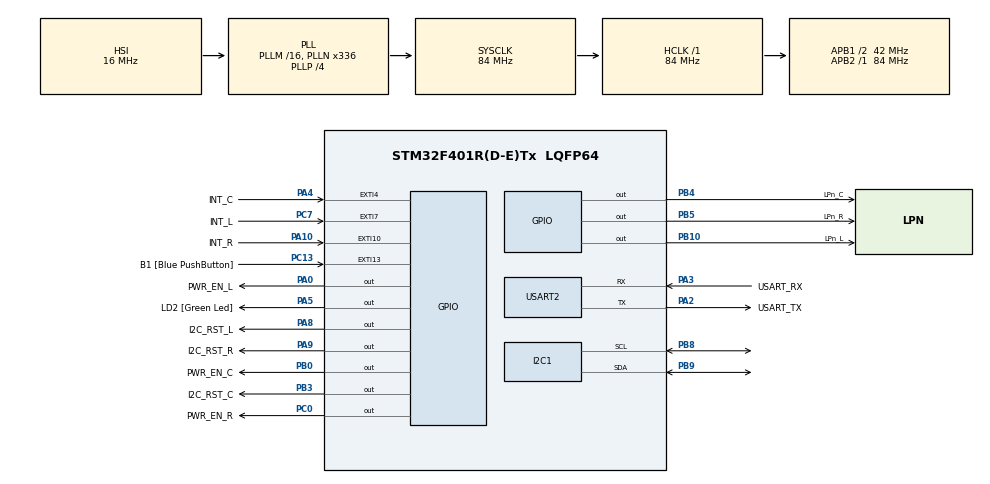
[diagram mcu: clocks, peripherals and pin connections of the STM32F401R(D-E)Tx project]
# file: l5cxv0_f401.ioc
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I2C1.I2C_Mode=I2C_Standard
Mcu.Family=STM32F4
Mcu.Name=STM32F401R(D-E)Tx
Mcu.Package=LQFP64
NVIC.EXTI15_10_IRQn=true\:0\:0\:false\:false\:true\:true\:true\:true
NVIC.EXTI4_IRQn=true\:0\:0\:false\:false\:true\:true\:true\:true
NVIC.EXTI9_5_IRQn=true\:0\:0\:false\:false\:true\:true\:true\:true
NVIC.PriorityGroup=NVIC_PRIORITYGROUP_0
PA0-WKUP.GPIO_Label=PWR_EN_L
PA0-WKUP.GPIO_PuPd=GPIO_NOPULL
PA0-WKUP.GPIO_Speed=GPIO_SPEED_FREQ_HIGH
PA0-WKUP.PinState=GPIO_PIN_SET
PA0-WKUP.Signal=GPIO_Output
PA10.GPIO_Label=INT_R
PA10.Signal=GPXTI10
PA13.GPIO_Label=TMS
PA13.Mode=Serial_Wire
PA13.Signal=SYS_JTMS-SWDIO
PA14.GPIO_Label=TCK
PA14.Mode=Serial_Wire
PA14.Signal=SYS_JTCK-SWCLK
PA2.GPIO_Label=USART_TX
PA2.GPIO_Mode=GPIO_MODE_AF_PP
PA2.GPIO_PuPd=GPIO_NOPULL
PA2.GPIO_Speed=GPIO_SPEED_FREQ_LOW
PA2.Mode=Asynchronous
PA2.Signal=USART2_TX
PA3.GPIO_Label=USART_RX
PA3.GPIO_Mode=GPIO_MODE_AF_PP
PA3.GPIO_PuPd=GPIO_NOPULL
PA3.GPIO_Speed=GPIO_SPEED_FREQ_LOW
PA3.Mode=Asynchronous
PA3.Signal=USART2_RX
PA4.GPIO_Label=INT_C
PA4.GPIO_ModeDefaultEXTI=GPIO_MODE_IT_FALLING
PA4.GPIO_PuPd=GPIO_NOPULL
PA4.Signal=GPXTI4
PA5.GPIO_Label=LD2 [Green Led]
PA5.GPIO_Mode=GPIO_MODE_OUTPUT_PP
PA5.GPIO_PuPd=GPIO_NOPULL
PA5.GPIO_Speed=GPIO_SPEED_FREQ_LOW
PA5.Signal=GPIO_Output
PA8.GPIO_Label=I2C_RST_L
PA8.GPIO_ModeDefaultOutputPP=GPIO_MODE_OUTPUT_PP
PA8.GPIO_PuPd=GPIO_NOPULL
PA8.GPIO_Speed=GPIO_SPEED_FREQ_HIGH
PA8.PinState=GPIO_PIN_RESET
PA8.Signal=GPIO_Output
PA9.GPIO_Label=I2C_RST_R
PA9.GPIO_ModeDefaultOutputPP=GPIO_MODE_OUTPUT_PP
PA9.GPIO_PuPd=GPIO_NOPULL
PA9.GPIO_Speed=GPIO_SPEED_FREQ_HIGH
PA9.PinState=GPIO_PIN_RESET
PA9.Signal=GPIO_Output
PB0.GPIO_Label=PWR_EN_C
PB0.GPIO_ModeDefaultOutputPP=GPIO_MODE_OUTPUT_PP
PB0.GPIO_PuPd=GPIO_NOPULL
PB0.GPIO_Speed=GPIO_SPEED_FREQ_HIGH
PB0.PinState=GPIO_PIN_SET
PB0.Signal=GPIO_Output
PB10.GPIO_Label=LPn_L
PB10.GPIO_PuPd=GPIO_NOPULL
PB10.GPIO_Speed=GPIO_SPEED_FREQ_HIGH
PB10.PinState=GPIO_PIN_SET
PB10.Signal=GPIO_Output
PB3.GPIO_Label=I2C_RST_C
PB3.GPIO_PuPd=GPIO_NOPULL
PB3.GPIO_Speed=GPIO_SPEED_FREQ_HIGH
PB3.PinState=GPIO_PIN_RESET
PB3.Signal=GPIO_Output
PB4.GPIO_Label=LPn_C
PB4.GPIO_ModeDefaultOutputPP=GPIO_MODE_OUTPUT_PP
PB4.GPIO_PuPd=GPIO_NOPULL
PB4.GPIO_Speed=GPIO_SPEED_FREQ_HIGH
PB4.PinState=GPIO_PIN_SET
PB4.Signal=GPIO_Output
PB5.GPIO_Label=LPn_R
PB5.GPIO_PuPd=GPIO_NOPULL
PB5.GPIO_Speed=GPIO_SPEED_FREQ_HIGH
PB5.PinState=GPIO_PIN_SET
PB5.Signal=GPIO_Output
PB8.GPIO_Pu=GPIO_PULLUP
PB8.Mode=I2C
PB8.Signal=I2C1_SCL
PB9.GPIO_Pu=GPIO_PULLUP
PB9.Mode=I2C
PB9.Signal=I2C1_SDA
PC0.GPIO_Label=PWR_EN_R
PC0.GPIO_PuPd=GPIO_NOPULL
PC0.GPIO_Speed=GPIO_SPEED_FREQ_HIGH
PC0.PinState=GPIO_PIN_SET
PC0.Signal=GPIO_Output
PC13-ANTI_TAMP.GPIO_Label=B1 [Blue PushButton]
PC13-ANTI_TAMP.GPIO_ModeDefaultEXTI=GPIO_MODE_IT_FALLING
PC13-ANTI_TAMP.GPIO_PuPd=GPIO_NOPULL
PC13-ANTI_TAMP.Signal=GPXTI13
PC14-OSC32_IN.Mode=LSE-External-Oscillator
PC14-OSC32_IN.Signal=RCC_OSC32_IN
PC15-OSC32_OUT.Mode=LSE-External-Oscillator
PC15-OSC32_OUT.Signal=RCC_OSC32_OUT
PC7.GPIO_Label=INT_L
PC7.GPIO_ModeDefaultEXTI=GPIO_MODE_IT_FALLING
PC7.Signal=GPXTI7
PH0\ -\ OSC_IN.Mode=HSE-External-Clock-Source
PH0\ -\ OSC_IN.Signal=RCC_OSC_IN
PH1\ -\ OSC_OUT.Mode=HSE-External-Clock-Source
PH1\ -\ OSC_OUT.Signal=RCC_OSC_OUT
ProjectManager.HeapSize=0x200
ProjectManager.StackSize=0x400
ProjectManager.TargetToolchain=STM32CubeIDE
RCC.48MHZClocksFreq_Value=48000000
RCC.AHBFreq_Value=84000000
RCC.APB1CLKDivider=RCC_HCLK_DIV2
RCC.APB1Freq_Value=42000000
RCC.APB1TimFreq_Value=84000000
RCC.APB2Freq_Value=84000000
RCC.APB2TimFreq_Value=84000000
RCC.CortexFreq_Value=84000000
RCC.HCLKFreq_Value=84000000
RCC.HSE_VALUE=8000000
RCC.HSI_VALUE=16000000
RCC.PLLN=336
RCC.PLLP=RCC_PLLP_DIV4
RCC.PLLQ=7
RCC.SYSCLKFreq_VALUE=84000000
RCC.SYSCLKSource=RCC_SYSCLKSOURCE_PLLCLK
RCC.VCOOutputFreq_Value=336000000
USART2.VirtualMode=VM_ASYNC
board=NUCLEO-F401RE

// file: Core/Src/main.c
/* USER CODE BEGIN Header */
/**
 ******************************************************************************
 * @file           : main.c
 * @brief          : Main program body
 ******************************************************************************
 * @attention
 *
 * <h2><center>&copy; Copyright (c) 2021 STMicroelectronics.
 * All rights reserved.</center></h2>
 *
 * This software component is licensed by ST under BSD 3-Clause license,
 * the "License"; You may not use this file except in compliance with the
 * License. You may obtain a copy of the License at:
 *                        opensource.org/licenses/BSD-3-Clause
 *
 ******************************************************************************
 */
/* USER CODE END Header */
#include "main.h"

/* USER CODE BEGIN Includes */
#include <stdio.h>
#include "vl53l5cx_api.h"
/* USER CODE END Includes */

/* USER CODE BEGIN PD */
#define is_interrupt 0 /*is_interrupt = 1 => get data by interrupt, = 0 => get data by polling */

/* USER CODE END PD */

I2C_HandleTypeDef hi2c1;

UART_HandleTypeDef huart2;

/* USER CODE BEGIN PV */
int status;
volatile int IntCount;
uint8_t p_data_ready;
VL53L5CX_Configuration 	Dev;
VL53L5CX_ResultsData 	Results;
uint8_t resolution, isAlive;
uint16_t idx;
/* USER CODE END PV */

void SystemClock_Config(void);
static void MX_GPIO_Init(void);
static void MX_I2C1_Init(void);
static void MX_USART2_UART_Init(void);
/* USER CODE BEGIN PFP */

void get_data_by_polling(VL53L5CX_Configuration *p_dev);
void get_data_by_interrupt(VL53L5CX_Configuration *p_dev);

#ifdef __GNUC__
#define PUTCHAR_PROTOTYPE int __io_putchar(int ch)
#else
#define PUTCHAR_PROTOTYPE int fputc(int ch, FILE *f)

#endif

PUTCHAR_PROTOTYPE
{
	HAL_UART_Transmit(&huart2, (uint8_t *)&ch, 1, 0xFFFF);
	return ch;
}
/* USER CODE END PFP */

/* USER CODE BEGIN 0 */
void HAL_GPIO_EXTI_Callback(uint16_t GPIO_Pin)
{
	if (GPIO_Pin==INT_C_Pin)
	{
		IntCount++;
	}
}
/* USER CODE END 0 */

int main(void)
{

  /* MCU Configuration--------------------------------------------------------*/

  /* Reset of all peripherals, Initializes the Flash interface and the Systick. */
  HAL_Init();

  /* Configure the system clock */
  SystemClock_Config();

  /* Initialize all configured peripherals */
  MX_GPIO_Init();
  MX_I2C1_Init();
  MX_USART2_UART_Init();
  /* USER CODE BEGIN 2 */
	Dev.platform.address = VL53L5CX_DEFAULT_I2C_ADDRESS;
//	HAL_GPIO_WritePin(I2C_RST_C_GPIO_Port, I2C_RST_C_Pin, GPIO_PIN_RESET);
//	HAL_Delay(100);
//	HAL_GPIO_WritePin(PWR_EN_C_GPIO_Port, PWR_EN_C_Pin, GPIO_PIN_RESET);
//	HAL_Delay(100);
//	HAL_GPIO_WritePin(LPn_C_GPIO_Port, LPn_C_Pin, GPIO_PIN_RESET);
//	HAL_Delay(200);
//	HAL_GPIO_WritePin(PWR_EN_C_GPIO_Port, PWR_EN_C_Pin, GPIO_PIN_SET);
//	HAL_Delay(100);
//	HAL_GPIO_WritePin(LPn_C_GPIO_Port, LPn_C_Pin, GPIO_PIN_SET);
	status = vl53l5cx_is_alive(&Dev, &isAlive);
	if(!isAlive)
	{
		printf("VL53L5CXV0 not detected at requested address (0x%x)\n", Dev.platform.address);
		return 255;
	}
	printf("Sensor initializing, please wait few seconds\n");
	status = vl53l5cx_init(&Dev);
	status = vl53l5cx_set_ranging_frequency_hz(&Dev, 2);				// Set 2Hz ranging frequency
	status = vl53l5cx_set_ranging_mode(&Dev, VL53L5CX_RANGING_MODE_CONTINUOUS);  // Set mode continuous

	printf("Ranging starts\n");
	status = vl53l5cx_start_ranging(&Dev);
  /* USER CODE END 2 */

  /* Infinite loop */
  /* USER CODE BEGIN WHILE */

	if (is_interrupt) {
		get_data_by_interrupt(&Dev);
	}
	else {
		get_data_by_polling(&Dev);
	}

    /* USER CODE END WHILE */

}

void SystemClock_Config(void)
{
  RCC_OscInitTypeDef RCC_OscInitStruct = {0};
  RCC_ClkInitTypeDef RCC_ClkInitStruct = {0};

  /** Configure the main internal regulator output voltage
  */
  __HAL_RCC_PWR_CLK_ENABLE();
  __HAL_PWR_VOLTAGESCALING_CONFIG(PWR_REGULATOR_VOLTAGE_SCALE2);

  /** Initializes the RCC Oscillators according to the specified parameters
  * in the RCC_OscInitTypeDef structure.
  */
  RCC_OscInitStruct.OscillatorType = RCC_OSCILLATORTYPE_HSI;
  RCC_OscInitStruct.HSIState = RCC_HSI_ON;
  RCC_OscInitStruct.HSICalibrationValue = RCC_HSICALIBRATION_DEFAULT;
  RCC_OscInitStruct.PLL.PLLState = RCC_PLL_ON;
  RCC_OscInitStruct.PLL.PLLSource = RCC_PLLSOURCE_HSI;
  RCC_OscInitStruct.PLL.PLLM = 16;
  RCC_OscInitStruct.PLL.PLLN = 336;
  RCC_OscInitStruct.PLL.PLLP = RCC_PLLP_DIV4;
  RCC_OscInitStruct.PLL.PLLQ = 7;
  if (HAL_RCC_OscConfig(&RCC_OscInitStruct) != HAL_OK)
  {
    Error_Handler();
  }

  /** Initializes the CPU, AHB and APB buses clocks
  */
  RCC_ClkInitStruct.ClockType = RCC_CLOCKTYPE_HCLK|RCC_CLOCKTYPE_SYSCLK
                              |RCC_CLOCKTYPE_PCLK1|RCC_CLOCKTYPE_PCLK2;
  RCC_ClkInitStruct.SYSCLKSource = RCC_SYSCLKSOURCE_PLLCLK;
  RCC_ClkInitStruct.AHBCLKDivider = RCC_SYSCLK_DIV1;
  RCC_ClkInitStruct.APB1CLKDivider = RCC_HCLK_DIV2;
  RCC_ClkInitStruct.APB2CLKDivider = RCC_HCLK_DIV1;

  if (HAL_RCC_ClockConfig(&RCC_ClkInitStruct, FLASH_LATENCY_2) != HAL_OK)
  {
    Error_Handler();
  }
}

static void MX_I2C1_Init(void)
{

  hi2c1.Instance = I2C1;
  hi2c1.Init.ClockSpeed = 1000000;
  hi2c1.Init.DutyCycle = I2C_DUTYCYCLE_2;
  hi2c1.Init.OwnAddress1 = 0;
  hi2c1.Init.AddressingMode = I2C_ADDRESSINGMODE_7BIT;
  hi2c1.Init.DualAddressMode = I2C_DUALADDRESS_DISABLE;
  hi2c1.Init.OwnAddress2 = 0;
  hi2c1.Init.GeneralCallMode = I2C_GENERALCALL_DISABLE;
  hi2c1.Init.NoStretchMode = I2C_NOSTRETCH_DISABLE;
  if (HAL_I2C_Init(&hi2c1) != HAL_OK)
  {
    Error_Handler();
  }

}

static void MX_USART2_UART_Init(void)
{

  huart2.Instance = USART2;
  huart2.Init.BaudRate = 460800;
  huart2.Init.WordLength = UART_WORDLENGTH_8B;
  huart2.Init.StopBits = UART_STOPBITS_1;
  huart2.Init.Parity = UART_PARITY_NONE;
  huart2.Init.Mode = UART_MODE_TX_RX;
  huart2.Init.HwFlowCtl = UART_HWCONTROL_NONE;
  huart2.Init.OverSampling = UART_OVERSAMPLING_16;
  if (HAL_UART_Init(&huart2) != HAL_OK)
  {
    Error_Handler();
  }

}

static void MX_GPIO_Init(void)
{
  GPIO_InitTypeDef GPIO_InitStruct = {0};

  /* GPIO Ports Clock Enable */
  __HAL_RCC_GPIOC_CLK_ENABLE();
  __HAL_RCC_GPIOH_CLK_ENABLE();
  __HAL_RCC_GPIOA_CLK_ENABLE();
  __HAL_RCC_GPIOB_CLK_ENABLE();

  /*Configure GPIO pin Output Level */
  HAL_GPIO_WritePin(PWR_EN_R_GPIO_Port, PWR_EN_R_Pin, GPIO_PIN_SET);

  /*Configure GPIO pin Output Level */
  HAL_GPIO_WritePin(PWR_EN_L_GPIO_Port, PWR_EN_L_Pin, GPIO_PIN_SET);

  /*Configure GPIO pin Output Level */
  HAL_GPIO_WritePin(GPIOA, LD2_Pin|I2C_RST_L_Pin|I2C_RST_R_Pin, GPIO_PIN_RESET);

  /*Configure GPIO pin Output Level */
  HAL_GPIO_WritePin(GPIOB, PWR_EN_C_Pin|LPn_L_Pin|LPn_C_Pin|LPn_R_Pin, GPIO_PIN_SET);

  /*Configure GPIO pin Output Level */
  HAL_GPIO_WritePin(I2C_RST_C_GPIO_Port, I2C_RST_C_Pin, GPIO_PIN_RESET);

  /*Configure GPIO pins : B1_Pin INT_L_Pin */
  GPIO_InitStruct.Pin = B1_Pin|INT_L_Pin;
  GPIO_InitStruct.Mode = GPIO_MODE_IT_FALLING;
  GPIO_InitStruct.Pull = GPIO_NOPULL;
  HAL_GPIO_Init(GPIOC, &GPIO_InitStruct);

  /*Configure GPIO pin : PWR_EN_R_Pin */
  GPIO_InitStruct.Pin = PWR_EN_R_Pin;
  GPIO_InitStruct.Mode = GPIO_MODE_OUTPUT_PP;
  GPIO_InitStruct.Pull = GPIO_NOPULL;
  GPIO_InitStruct.Speed = GPIO_SPEED_FREQ_HIGH;
  HAL_GPIO_Init(PWR_EN_R_GPIO_Port, &GPIO_InitStruct);

  /*Configure GPIO pins : PWR_EN_L_Pin I2C_RST_L_Pin I2C_RST_R_Pin */
  GPIO_InitStruct.Pin = PWR_EN_L_Pin|I2C_RST_L_Pin|I2C_RST_R_Pin;
  GPIO_InitStruct.Mode = GPIO_MODE_OUTPUT_PP;
  GPIO_InitStruct.Pull = GPIO_NOPULL;
  GPIO_InitStruct.Speed = GPIO_SPEED_FREQ_HIGH;
  HAL_GPIO_Init(GPIOA, &GPIO_InitStruct);

  /*Configure GPIO pin : INT_C_Pin */
  GPIO_InitStruct.Pin = INT_C_Pin;
  GPIO_InitStruct.Mode = GPIO_MODE_IT_FALLING;
  GPIO_InitStruct.Pull = GPIO_NOPULL;
  HAL_GPIO_Init(INT_C_GPIO_Port, &GPIO_InitStruct);

  /*Configure GPIO pin : LD2_Pin */
  GPIO_InitStruct.Pin = LD2_Pin;
  GPIO_InitStruct.Mode = GPIO_MODE_OUTPUT_PP;
  GPIO_InitStruct.Pull = GPIO_NOPULL;
  GPIO_InitStruct.Speed = GPIO_SPEED_FREQ_LOW;
  HAL_GPIO_Init(LD2_GPIO_Port, &GPIO_InitStruct);

  /*Configure GPIO pins : PWR_EN_C_Pin LPn_L_Pin I2C_RST_C_Pin LPn_C_Pin
                           LPn_R_Pin */
  GPIO_InitStruct.Pin = PWR_EN_C_Pin|LPn_L_Pin|I2C_RST_C_Pin|LPn_C_Pin
                          |LPn_R_Pin;
  GPIO_InitStruct.Mode = GPIO_MODE_OUTPUT_PP;
  GPIO_InitStruct.Pull = GPIO_NOPULL;
  GPIO_InitStruct.Speed = GPIO_SPEED_FREQ_HIGH;
  HAL_GPIO_Init(GPIOB, &GPIO_InitStruct);

  /*Configure GPIO pin : INT_R_Pin */
  GPIO_InitStruct.Pin = INT_R_Pin;
  GPIO_InitStruct.Mode = GPIO_MODE_IT_RISING;
  GPIO_InitStruct.Pull = GPIO_NOPULL;
  HAL_GPIO_Init(INT_R_GPIO_Port, &GPIO_InitStruct);

  /* EXTI interrupt init*/
  HAL_NVIC_SetPriority(EXTI4_IRQn, 0, 0);
  HAL_NVIC_EnableIRQ(EXTI4_IRQn);

  HAL_NVIC_SetPriority(EXTI9_5_IRQn, 0, 0);
  HAL_NVIC_EnableIRQ(EXTI9_5_IRQn);

  HAL_NVIC_SetPriority(EXTI15_10_IRQn, 0, 0);
  HAL_NVIC_EnableIRQ(EXTI15_10_IRQn);

}

/* USER CODE BEGIN 4 */

void get_data_by_interrupt(VL53L5CX_Configuration *p_dev){
	do
	{
		__WFI();	// Wait for interrupt
		if(IntCount !=0 ){
			IntCount=0;
			status = vl53l5cx_get_resolution(p_dev, &resolution);
			status = vl53l5cx_get_ranging_data(p_dev, &Results);

			for(int i = 0; i < resolution;i++){
				/* Print per zone results */
				printf("Zone : %2d, Nb targets : %2u, Ambient : %4lu Kcps/spads, ",
						i,
						Results.nb_target_detected[i],
						Results.ambient_per_spad[i]);

				/* Print per target results */
				if(Results.nb_target_detected[i] > 0){
					printf("Target status : %3u, Distance : %4d mm\n",
							Results.target_status[VL53L5CX_NB_TARGET_PER_ZONE * i],
							Results.distance_mm[VL53L5CX_NB_TARGET_PER_ZONE * i]);
				}else{
					printf("Target status : 255, Distance : No target\n");
				}
			}
			printf("\n");
		}
	}while(1);
}

void get_data_by_polling(VL53L5CX_Configuration *p_dev){
	do
	{
		status = vl53l5cx_check_data_ready(&Dev, &p_data_ready);
		if(p_data_ready){
			status = vl53l5cx_get_resolution(p_dev, &resolution);
			status = vl53l5cx_get_ranging_data(p_dev, &Results);

			for(int i = 0; i < resolution;i++){
				/* Print per zone results */
				printf("Zone : %2d, Nb targets : %2u, Ambient : %4lu Kcps/spads, ",
						i,
						Results.nb_target_detected[i],
						Results.ambient_per_spad[i]);

				/* Print per target results */
				if(Results.nb_target_detected[i] > 0){
					printf("Target status : %3u, Distance : %4d mm\n",
							Results.target_status[VL53L5CX_NB_TARGET_PER_ZONE * i],
							Results.distance_mm[VL53L5CX_NB_TARGET_PER_ZONE * i]);
				}else{
					printf("Target status : 255, Distance : No target\n");
				}
			}
			printf("\n");
		}else{
			HAL_Delay(5);
		}
	}
	while(1);
}

/* USER CODE END 4 */

void Error_Handler(void)
{
	__disable_irq();
	while (1)
	{
	}
}
